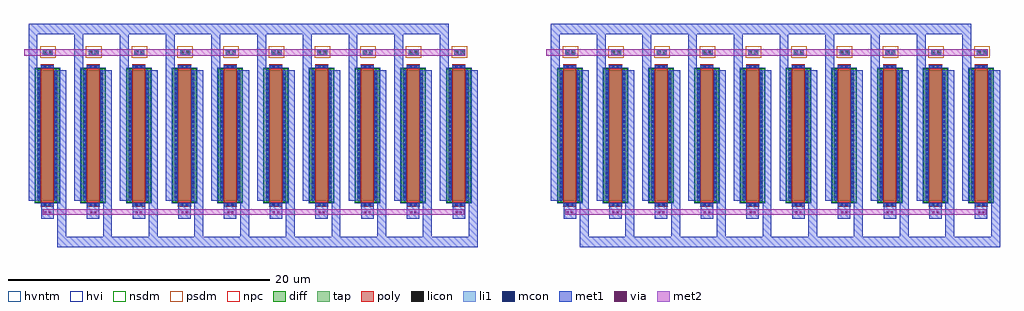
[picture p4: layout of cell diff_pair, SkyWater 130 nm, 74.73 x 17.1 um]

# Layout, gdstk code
import gdstk
lib = gdstk.Library(unit=1e-6, precision=1e-09)
def R(c, l, rs):  # rectangles x0, y0, x1, y1
    for r in rs: c.add(gdstk.rectangle(r[:2], r[2:], *l))
def A(c, l, x, y, w, h, nx, ny, dx, dy):  # array of equal rectangles
    R(c, l, [(x+i*dx, y+j*dy, x+i*dx+w, y+j*dy+h) for i in range(nx) for j in range(ny)])
diff = (65, 20)
tap = (65, 44)
poly = (66, 20)
licon = (66, 44)
li1 = (67, 20)
mcon = (67, 44)
met1 = (68, 20)
via = (68, 44)
met2 = (69, 20)
hvi = (75, 20)
nsdm = (93, 44)
psdm = (94, 20)
npc = (95, 20)
hvntm = (125, 20)

sky130_fd_pr__nfet_g5v0d = lib.new_cell('sky130_fd_pr__nfet_g5v0d10v5_9A4VCP')
R(sky130_fd_pr__nfet_g5v0d, diff, [(-0.79,-5,0.79,5)])
R(sky130_fd_pr__nfet_g5v0d, poly, [(-0.5,-5.44,0.5,5.44)])
A(sky130_fd_pr__nfet_g5v0d, licon, -0.73, -4.845, 0.17, 0.17, 1, 29, 0, 0.34)
A(sky130_fd_pr__nfet_g5v0d, licon, 0.56, -4.845, 0.17, 0.17, 1, 29, 0, 0.34)
R(sky130_fd_pr__nfet_g5v0d, licon, [(-0.255,-5.36,-0.085,-5.19), (0.085,-5.36,0.255,-5.19), (-0.255,5.19,-0.085,5.36), (0.085,5.19,0.255,5.36)])
R(sky130_fd_pr__nfet_g5v0d, li1, [(-0.5,-5.36,0.5,-5.19), (-0.73,-5.02,-0.56,5.02), (0.56,-5.02,0.73,5.02), (-0.5,5.19,0.5,5.36)])
A(sky130_fd_pr__nfet_g5v0d, mcon, -0.73, -4.765, 0.17, 0.17, 1, 27, 0, 0.36)
A(sky130_fd_pr__nfet_g5v0d, mcon, 0.56, -4.765, 0.17, 0.17, 1, 27, 0, 0.36)
R(sky130_fd_pr__nfet_g5v0d, mcon, [(-0.265,-5.36,-0.095,-5.19), (0.095,-5.36,0.265,-5.19), (-0.265,5.19,-0.095,5.36), (0.095,5.19,0.265,5.36)])
R(sky130_fd_pr__nfet_g5v0d, met1, [(-0.48,-5.39,0.48,-5.16), (-0.76,-5,-0.53,5), (0.53,-5,0.76,5), (-0.48,5.16,0.48,5.39)])
R(sky130_fd_pr__nfet_g5v0d, hvi, [(-0.975,-5.185,0.975,5.185)])
R(sky130_fd_pr__nfet_g5v0d, nsdm, [(-0.915,-5.125,0.915,5.125)])
R(sky130_fd_pr__nfet_g5v0d, npc, [(-0.355,-5.46,0.355,-5.09), (-0.355,5.09,0.355,5.46)])
R(sky130_fd_pr__nfet_g5v0d, hvntm, [(-0.975,-5.185,0.975,5.185)])

contact_2 = lib.new_cell('contact$2')
R(contact_2, tap, [(-0.385,-0.205,0.385,0.205)])
R(contact_2, licon, [(-0.265,-0.085,-0.095,0.085), (0.095,-0.085,0.265,0.085)])
R(contact_2, li1, [(-0.345,-0.165,0.345,0.165)])

contact_4 = lib.new_cell('contact$4')
R(contact_4, met1, [(-0.32,-0.16,0.32,0.16)])
R(contact_4, via, [(-0.235,-0.075,-0.085,0.075), (0.085,-0.075,0.235,0.075)])
R(contact_4, met2, [(-0.32,-0.16,0.32,0.16)])

nfet_w10_l1 = lib.new_cell('nfet_w10_l1')
R(nfet_w10_l1, met1, [(-12.87,-3.78,-12.19,8.97), (-14.11,-2.395,-13.15,-1.42), (-15.07,-1.03,-14.39,11.72)])
R(nfet_w10_l1, psdm, [(-14.175,9.92,-12.985,10.785)])
nfet_w10_l1.add(gdstk.Reference(sky130_fd_pr__nfet_g5v0d, (-13.63,3.97)))
nfet_w10_l1.add(gdstk.Reference(contact_2, (-13.585,10.36)))
nfet_w10_l1.add(gdstk.Reference(contact_4, (-13.625,-1.895)))

m10_nfet_w10_l1 = lib.new_cell('m10_nfet_w10_l1')
R(m10_nfet_w10_l1, met1, [(-11.01,-4.085,21.17,-3.285), (-13.21,12.215,18.97,13.015)])
R(m10_nfet_w10_l1, met2, [(-12.135,-1.615,20.135,-1.19), (-13.56,10.58,20.215,11.08)])
r = gdstk.Reference(nfet_w10_l1, (1.86,0.495)); r.repetition = gdstk.Repetition(10, 1, v1=(3.5,0), v2=(0,0)); m10_nfet_w10_l1.add(r)

diff_pair = lib.new_cell('diff_pair')
r = gdstk.Reference(m10_nfet_w10_l1, (-0.985,0.09)); r.repetition = gdstk.Repetition(2, 1, v1=(40,0), v2=(0,0)); diff_pair.add(r)

lib.write_gds('diff_pair.gds')
